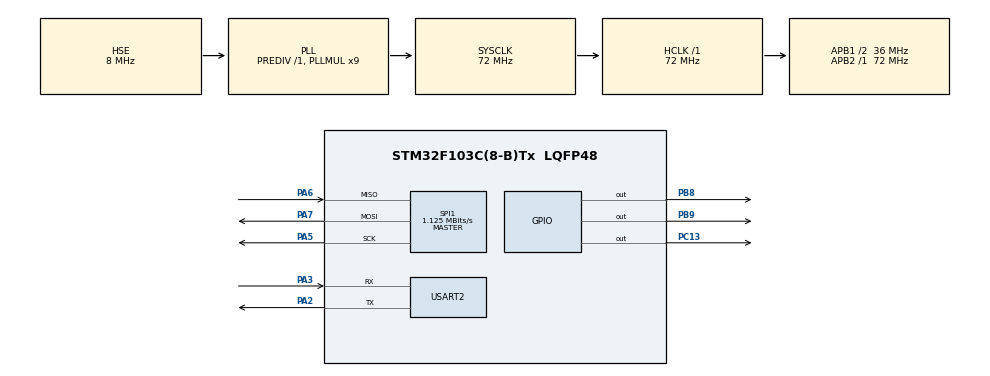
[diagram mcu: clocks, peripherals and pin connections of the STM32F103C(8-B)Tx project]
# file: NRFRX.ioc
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Mcu.Family=STM32F1
RCC.PLLSourceVirtual=RCC_PLLSOURCE_HSE
PA6.Mode=Full_Duplex_Master
PA7.Mode=Full_Duplex_Master
PD1-OSC_OUT.Mode=HSE-External-Oscillator
SPI1.VirtualType=VM_MASTER
PC13-TAMPER-RTC.Signal=GPIO_Output
PD0-OSC_IN.Signal=RCC_OSC_IN
RCC.APB1CLKDivider=RCC_HCLK_DIV2
RCC.SYSCLKSource=RCC_SYSCLKSOURCE_PLLCLK
ProjectManager.StackSize=0x400
PD1-OSC_OUT.Signal=RCC_OSC_OUT
PA13.Signal=SYS_JTMS-SWDIO
PA3.Mode=Asynchronous
ProjectManager.TargetToolchain=STM32CubeIDE
SPI1.Direction=SPI_DIRECTION_2LINES
RCC.HCLKFreq_Value=72000000
RCC.APB2TimFreq_Value=72000000
SPI1.CalculateBaudRate=1.125 MBits/s
RCC.USBFreq_Value=72000000
RCC.AHBFreq_Value=72000000
PD0-OSC_IN.Mode=HSE-External-Oscillator
PA5.Signal=SPI1_SCK
board=custom
RCC.PLLMUL=RCC_PLL_MUL9
RCC.APB2Freq_Value=72000000
SPI1.Mode=SPI_MODE_MASTER
PA14.Mode=Serial_Wire
PA13.Mode=Serial_Wire
Mcu.Name=STM32F103C(8-B)Tx
PA2.Signal=USART2_TX
RCC.SYSCLKFreq_VALUE=72000000
Mcu.Package=LQFP48
PB9.Signal=GPIO_Output
PA6.Signal=SPI1_MISO
USART2.VirtualMode=VM_ASYNC
PA14.Signal=SYS_JTCK-SWCLK
ProjectManager.HeapSize=0x200
NVIC.PriorityGroup=NVIC_PRIORITYGROUP_4
RCC.APB1TimFreq_Value=72000000
PA2.Mode=Asynchronous
PB8.Signal=GPIO_Output
RCC.APB1Freq_Value=36000000
SPI1.BaudRatePrescaler=SPI_BAUDRATEPRESCALER_64
PA3.Signal=USART2_RX
PA5.Mode=Full_Duplex_Master
PA7.Signal=SPI1_MOSI

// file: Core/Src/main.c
/* USER CODE BEGIN Header */
/**
 ******************************************************************************
 * @file           : main.c
 * @brief          : Main program body
 ******************************************************************************
 * @attention
 *
 * <h2><center>&copy; Copyright (c) 2022 STMicroelectronics.
 * All rights reserved.</center></h2>
 *
 * This software component is licensed by ST under BSD 3-Clause license,
 * the "License"; You may not use this file except in compliance with the
 * License. You may obtain a copy of the License at:
 *                        opensource.org/licenses/BSD-3-Clause
 *
 ******************************************************************************
 */
/* USER CODE END Header */
#include "main.h"

/* USER CODE BEGIN Includes */
#include "MY_NRF24.h"
/* USER CODE END Includes */

SPI_HandleTypeDef hspi1;

UART_HandleTypeDef huart2;

void SystemClock_Config(void);
static void MX_GPIO_Init(void);
static void MX_SPI1_Init(void);
static void MX_USART2_UART_Init(void);

/* USER CODE BEGIN 0 */
uint64_t Rxaddrs = 0x11223344AA;
char myRx[50];
char null;

/* USER CODE END 0 */

int main(void) {

	/* MCU Configuration--------------------------------------------------------*/

	/* Reset of all peripherals, Initializes the Flash interface and the Systick. */
	HAL_Init();

	/* Configure the system clock */
	SystemClock_Config();

	/* Initialize all configured peripherals */
	MX_GPIO_Init();
	MX_SPI1_Init();
	MX_USART2_UART_Init();
	/* USER CODE BEGIN 2 */
	NRF24_begin(GPIOB, GPIO_PIN_8, GPIO_PIN_9, hspi1);
	nrf24_DebugUART_Init(huart2);
	printRadioSettings();

	NRF24_setAutoAck(false);
	NRF24_setChannel(52);
	NRF24_setPayloadSize(32);
	NRF24_openReadingPipe(1, Rxaddrs);
	NRF24_startListening();
	/* USER CODE END 2 */

	/* Infinite loop */
	/* USER CODE BEGIN WHILE */
	while (1) {

		if (NRF24_available()) {
			NRF24_read(myRx, 32);
			HAL_GPIO_TogglePin(GPIOC, GPIO_PIN_13);
		}
		HAL_Delay(1000);
		for (int i = 0; i < 50; i++) {
			myRx[i] = null;
		}

		/* USER CODE END WHILE */

	}
}

void SystemClock_Config(void) {
	RCC_OscInitTypeDef RCC_OscInitStruct = { 0 };
	RCC_ClkInitTypeDef RCC_ClkInitStruct = { 0 };

	/** Initializes the RCC Oscillators according to the specified parameters
	 * in the RCC_OscInitTypeDef structure.
	 */
	RCC_OscInitStruct.OscillatorType = RCC_OSCILLATORTYPE_HSE;
	RCC_OscInitStruct.HSEState = RCC_HSE_ON;
	RCC_OscInitStruct.HSEPredivValue = RCC_HSE_PREDIV_DIV1;
	RCC_OscInitStruct.HSIState = RCC_HSI_ON;
	RCC_OscInitStruct.PLL.PLLState = RCC_PLL_ON;
	RCC_OscInitStruct.PLL.PLLSource = RCC_PLLSOURCE_HSE;
	RCC_OscInitStruct.PLL.PLLMUL = RCC_PLL_MUL9;
	if (HAL_RCC_OscConfig(&RCC_OscInitStruct) != HAL_OK) {
		Error_Handler();
	}
	/** Initializes the CPU, AHB and APB buses clocks
	 */
	RCC_ClkInitStruct.ClockType = RCC_CLOCKTYPE_HCLK | RCC_CLOCKTYPE_SYSCLK
			| RCC_CLOCKTYPE_PCLK1 | RCC_CLOCKTYPE_PCLK2;
	RCC_ClkInitStruct.SYSCLKSource = RCC_SYSCLKSOURCE_PLLCLK;
	RCC_ClkInitStruct.AHBCLKDivider = RCC_SYSCLK_DIV1;
	RCC_ClkInitStruct.APB1CLKDivider = RCC_HCLK_DIV2;
	RCC_ClkInitStruct.APB2CLKDivider = RCC_HCLK_DIV1;

	if (HAL_RCC_ClockConfig(&RCC_ClkInitStruct, FLASH_LATENCY_2) != HAL_OK) {
		Error_Handler();
	}
}

static void MX_SPI1_Init(void) {

	/* SPI1 parameter configuration*/
	hspi1.Instance = SPI1;
	hspi1.Init.Mode = SPI_MODE_MASTER;
	hspi1.Init.Direction = SPI_DIRECTION_2LINES;
	hspi1.Init.DataSize = SPI_DATASIZE_8BIT;
	hspi1.Init.CLKPolarity = SPI_POLARITY_LOW;
	hspi1.Init.CLKPhase = SPI_PHASE_1EDGE;
	hspi1.Init.NSS = SPI_NSS_SOFT;
	hspi1.Init.BaudRatePrescaler = SPI_BAUDRATEPRESCALER_64;
	hspi1.Init.FirstBit = SPI_FIRSTBIT_MSB;
	hspi1.Init.TIMode = SPI_TIMODE_DISABLE;
	hspi1.Init.CRCCalculation = SPI_CRCCALCULATION_DISABLE;
	hspi1.Init.CRCPolynomial = 10;
	if (HAL_SPI_Init(&hspi1) != HAL_OK) {
		Error_Handler();
	}

}

static void MX_USART2_UART_Init(void) {

	huart2.Instance = USART2;
	huart2.Init.BaudRate = 115200;
	huart2.Init.WordLength = UART_WORDLENGTH_8B;
	huart2.Init.StopBits = UART_STOPBITS_1;
	huart2.Init.Parity = UART_PARITY_NONE;
	huart2.Init.Mode = UART_MODE_TX_RX;
	huart2.Init.HwFlowCtl = UART_HWCONTROL_NONE;
	huart2.Init.OverSampling = UART_OVERSAMPLING_16;
	if (HAL_UART_Init(&huart2) != HAL_OK) {
		Error_Handler();
	}

}

static void MX_GPIO_Init(void) {
	GPIO_InitTypeDef GPIO_InitStruct = { 0 };

	/* GPIO Ports Clock Enable */
	__HAL_RCC_GPIOC_CLK_ENABLE();
	__HAL_RCC_GPIOD_CLK_ENABLE();
	__HAL_RCC_GPIOA_CLK_ENABLE();
	__HAL_RCC_GPIOB_CLK_ENABLE();

	/*Configure GPIO pin Output Level */
	HAL_GPIO_WritePin(GPIOC, GPIO_PIN_13, GPIO_PIN_RESET);

	/*Configure GPIO pin Output Level */
	HAL_GPIO_WritePin(GPIOB, GPIO_PIN_8 | GPIO_PIN_9, GPIO_PIN_RESET);

	/*Configure GPIO pin : PC13 */
	GPIO_InitStruct.Pin = GPIO_PIN_13;
	GPIO_InitStruct.Mode = GPIO_MODE_OUTPUT_PP;
	GPIO_InitStruct.Pull = GPIO_NOPULL;
	GPIO_InitStruct.Speed = GPIO_SPEED_FREQ_LOW;
	HAL_GPIO_Init(GPIOC, &GPIO_InitStruct);

	/*Configure GPIO pins : PB8 PB9 */
	GPIO_InitStruct.Pin = GPIO_PIN_8 | GPIO_PIN_9;
	GPIO_InitStruct.Mode = GPIO_MODE_OUTPUT_PP;
	GPIO_InitStruct.Pull = GPIO_NOPULL;
	GPIO_InitStruct.Speed = GPIO_SPEED_FREQ_LOW;
	HAL_GPIO_Init(GPIOB, &GPIO_InitStruct);

}

void Error_Handler(void) {
	__disable_irq();
	while (1) {
	}
}

/************************ (C) COPYRIGHT STMicroelectronics *****END OF FILE****/
